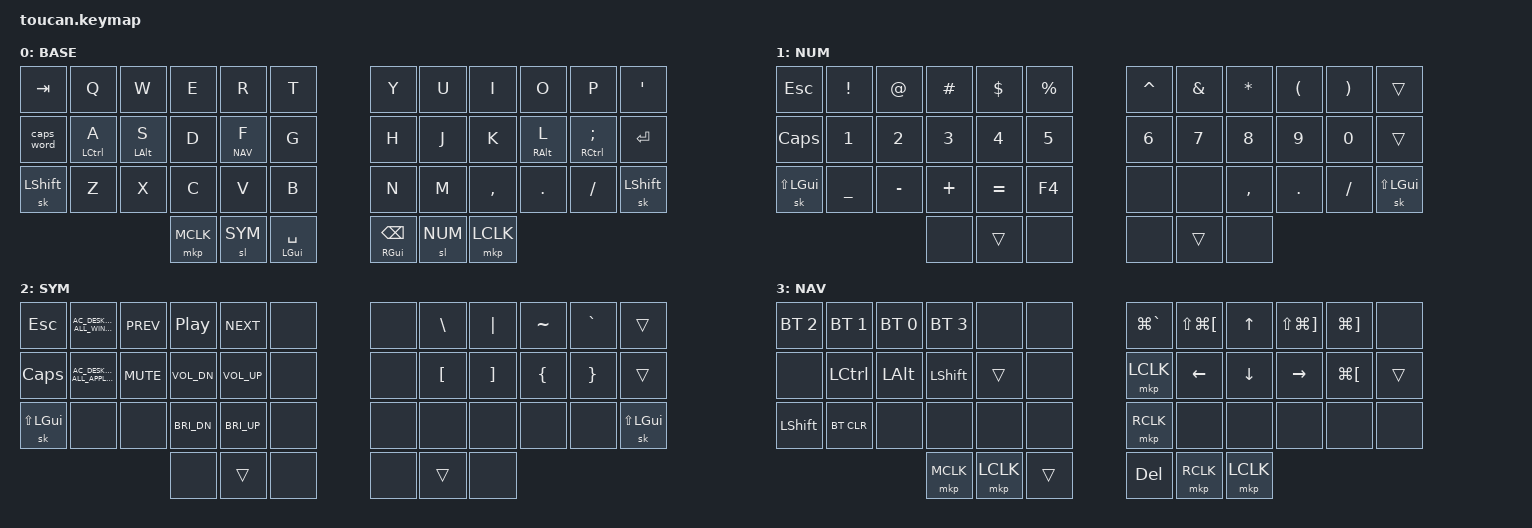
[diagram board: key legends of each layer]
#include <behaviors.dtsi>
#include <dt-bindings/zmk/keys.h>
#include <dt-bindings/zmk/bt.h>
#include <dt-bindings/zmk/outputs.h>
#include <dt-bindings/zmk/pointing.h>

#define BASE 0
#define NAV  1
#define SYM  2
#define NUM  3

/ {
    behaviors {
        // Left-hand Home Row Mods
        hm_l: homerow_mods_left {
            compatible = "zmk,behavior-hold-tap";
            label = "HOMEROW_MODS_LEFT";
            #binding-cells = <2>;
            tapping-term-ms = <250>;
            quick-tap-ms = <150>;
            require-prior-idle-ms = <150>;
            flavor = "balanced";
            bindings = <&kp>, <&kp>;
            // Only trigger if a key on the right half of the keyboard is pressed
            hold-trigger-key-positions = <6 7 8 9 10 11 18 19 20 21 22 23 30 31 32 33 34 35 39 40 41>;
        };

        // Right-hand Home Row Mods
        hm_r: homerow_mods_right {
            compatible = "zmk,behavior-hold-tap";
            label = "HOMEROW_MODS_RIGHT";
            #binding-cells = <2>;
            tapping-term-ms = <250>;
            quick-tap-ms = <150>;
            require-prior-idle-ms = <150>;
            flavor = "balanced";
            bindings = <&kp>, <&kp>;
            // Only trigger if a key on the left half of the keyboard is pressed
            hold-trigger-key-positions = <0 1 2 3 4 5 12 13 14 15 16 17 24 25 26 27 28 29 36 37 38>;
        };

        // Thumb Mod-Taps
        mt_thumb: mod_tap_thumb {
            compatible = "zmk,behavior-hold-tap";
            label = "MOD_TAP_THUMB";
            #binding-cells = <2>;
            tapping-term-ms = <200>;
            quick-tap-ms = <150>;
            require-prior-idle-ms = <150>;
            flavor = "balanced";
            bindings = <&kp>, <&kp>;
        };
    };

    keymap {
        compatible = "zmk,keymap";

        base {
            display-name = "BASE";
            bindings = <
                &kp TAB	&kp Q	&kp W	&kp E	&kp R	&kp T		    &kp Y	&kp U	&kp I	&kp O	&kp P	&kp SQT
                &caps_word	&hm LCTRL A	&hm LALT S	&kp D	&lt NAV F	&kp G		&kp H	&kp J	&kp K	&hm RALT L	&hm RCTRL SEMI	&kp ENTER
                &sk LSHFT	&kp Z	&kp X	&kp C	&kp V	&kp B		&kp N	&kp M	&kp COMMA	&kp DOT	&kp FSLH	&sk LSHFT
			    &mkp MCLK	&sl SYM	&mt LGUI SPACE		                &mt RGUI BSPC	&sl NUM	&mkp LCLK			
            >;
        };

        num {
            display-name = "NUM";
            bindings = <
                &kp ESC	&kp EXCL	&kp AT	&kp HASH	&kp DLLR	&kp PRCNT		        &kp CARET	&kp AMPS	&kp ASTRK	&kp LPAR	&kp RPAR	&trans
                &kp CAPS	&kp N1	&kp N2	&kp N3	&kp N4	&kp N5		                    &kp N6	&kp N7	&kp N8	&kp N9	&kp N0	&trans
                &sk LS(LGUI)	&kp UNDER	&kp MINUS	&kp PLUS	&kp EQUAL	&kp F4		&none	&none	&kp COMMA	&kp DOT	&kp FSLH	&sk LS(LGUI)
			    &none	&trans	&none		                                                &none	&trans	&none			
            >;
        };

        sym {
            display-name = "SYM";
            bindings = <
                &kp ESC	&kp C_AC_DESKTOP_SHOW_ALL_WINDOWS	&kp C_PREV	&kp C_PP	&kp C_NEXT	&none		                &none	&kp BSLH	&kp PIPE	&kp TILDE	&kp GRAVE	&trans
                &kp CAPS	&kp C_AC_DESKTOP_SHOW_ALL_APPLICATIONS	&kp C_MUTE	&kp C_VOL_DN	&kp C_VOL_UP	&none		&none	&kp LBKT	&kp RBKT	&kp LBRC	&kp RBRC	&trans
                &sk LS(LGUI)	&none	&none	&kp C_BRI_DN	&kp C_BRI_UP	&none		                                &none	&none	&none	&none	&none	&sk LS(LGUI)
			    &none	&trans	&none		                                                                                &none	&trans	&none			
            >;
        };

        nav {
            display-name = "NAV";
            bindings = <
                &bt BT_SEL 2	&bt BT_SEL 1	&bt BT_SEL 0	&bt BT_SEL 3	&none	&none		&kp LG(GRAVE)	&kp LS(LG(LBKT))	&kp UP	&kp LS(LG(RBKT))	&kp LG(RBKT)	&none
                &none	&kp LCTRL	&kp LALT	&kp LSHFT	&trans	&none		                    &mkp LCLK	&kp LEFT	&kp DOWN	&kp RIGHT	&kp LG(LBKT)	&trans
                &kp LSHFT	&bt BT_CLR	&none	&none	&none	&none		                        &mkp RCLK	&none	&none	&none	&none	&none
			    &mkp MCLK	&mkp LCLK	&trans		                                                &kp DEL	&mkp RCLK	&mkp LCLK			
            >;
        };

        // Extra layers required by ZMK Studio to allow runtime additions
        extra_1 {
            status = "reserved";
        };
        extra_2 {
            status = "reserved";
        };
    };
};
